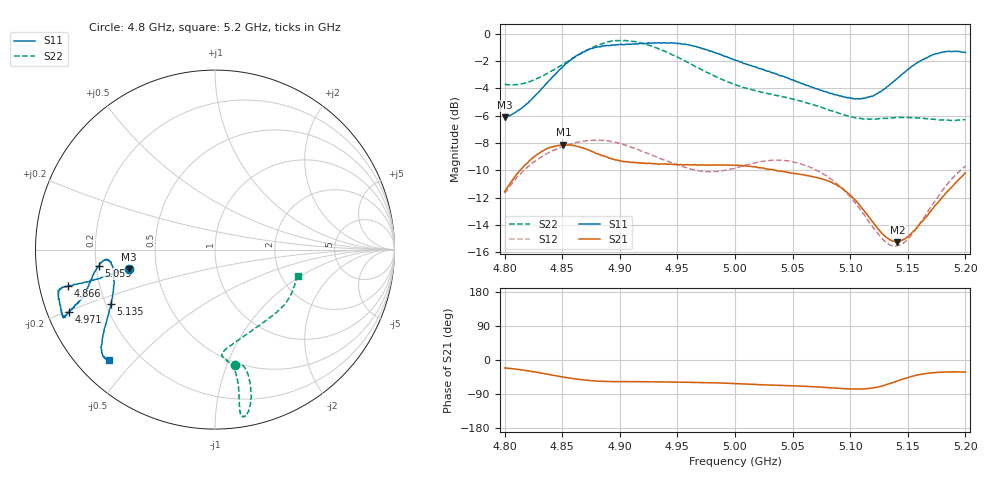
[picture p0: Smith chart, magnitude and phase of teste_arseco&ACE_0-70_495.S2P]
! Network Analyzer HP8722D
! Hewlett-Packard
! Data name: Linha & Wilkinson
! Saver's name: Rodrigo Anjos
! Comments: Teste da utilização de aquisição
! continua pelo VNA HP8722D
! Time and date: 8/5/2025 16:53
!  Frequency  S11  S21  S12  S22
# HZ  S  MA R 50
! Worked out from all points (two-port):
!   401 points, 4.8 GHz to 5.2 GHz, reference 50 ohm
!   highest |S21| = -8.13 dB at 4.851 GHz (marker M1); lowest = -15.2 dB at 5.141 GHz (marker M2)
!   |S21| within 3 dB of the highest: 4.803 GHz to 5.089 GHz (285.7 MHz wide, 5.78 % of centre); 5.189164 GHz to end of sweep
!   lowest |S11| = -6.1 dB at 4.8 GHz (marker M3), VSWR 2.95, Z = 17.1 - j4.91 ohm
!   |S11| at or under -10 dB: nowhere
!   |S22| runs from -6.4 to -0.5 dB; largest |S21 - S12| = 0.62
!   S11 on the Smith chart (normalised r, x): 4.8 GHz: 0.34, -0.10; 4.866 GHz: 0.08, -0.12; 4.971 GHz: 0.06, -0.20; 5.059 GHz: 0.21, -0.07; 5.135 GHz: 0.22, -0.23; 5.2 GHz: 0.09, -0.42
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4.8e9  0.4936 -167.3  0.2641 -20.9  0.2607 -142.0  0.6513 -80.1
4.826e9  0.5897 -166.7  0.3559 -31.6  0.3398 -146.3  0.6794 -75.8
4.851e9  0.7607 -165.8  0.392 -45.1  0.3867 -150.8  0.7752 -75.4
4.866e9  0.8457 -166.1  0.383 -51.7  0.4025 -153.0  0.8442 -76.1
4.867e9  0.8525 -166.0  0.383 -52.2  0.403 -153.2  0.8495 -76.2
4.898e9  0.9107 -163.2  0.3445 -56.9  0.3976 -157.1  0.9432 -79.7
4.914e9  0.9163 -160.0  0.3375 -57.0  0.3786 -157.6  0.9343 -81.1
4.934e9  0.9257 -156.7  0.3327 -57.8  0.3511 -155.9  0.8782 -81.2
4.971e9  0.8839 -156.9  0.3306 -59.6  0.3138 -146.8  0.7383 -80.1
5e9  0.8007 -159.4  0.3301 -62.3  0.3226 -137.8  0.6505 -81.7
5.035e9  0.7138 -166.0  0.3161 -66.6  0.3449 -135.2  0.5952 -86.0
5.059e9  0.6551 -172.1  0.3045 -69.2  0.3316 -137.2  0.5635 -84.5
5.067e9  0.6375 -173.4  0.3002 -70.2  0.3225 -137.9  0.5495 -82.6
5.084e9  0.6047 -174.8  0.2858 -73.6  0.2917 -139.4  0.5218 -75.9
5.101e9  0.5812 -171.4  0.2542 -76.5  0.2494 -139.4  0.4965 -65.7
5.115e9  0.585 -164.7  0.2169 -75.6  0.2086 -135.5  0.4878 -55.6
5.134e9  0.6487 -153.2  0.1761 -62.8  0.1692 -118.4  0.4914 -42.7
5.135e9  0.6535 -152.3  0.1757 -61.8  0.1685 -116.8  0.4922 -42.1
5.141e9  0.687 -149.4  0.173 -55.0  0.1675 -109.1  0.494 -38.8
5.152e9  0.7505 -144.8  0.1839 -44.4  0.1804 -95.4  0.4934 -33.1
5.173e9  0.8401 -138.9  0.2329 -33.2  0.2423 -80.9  0.4863 -24.1
5.2e9  0.853 -133.8  0.3092 -32.1  0.3276 -77.8  0.4842 -17.7
